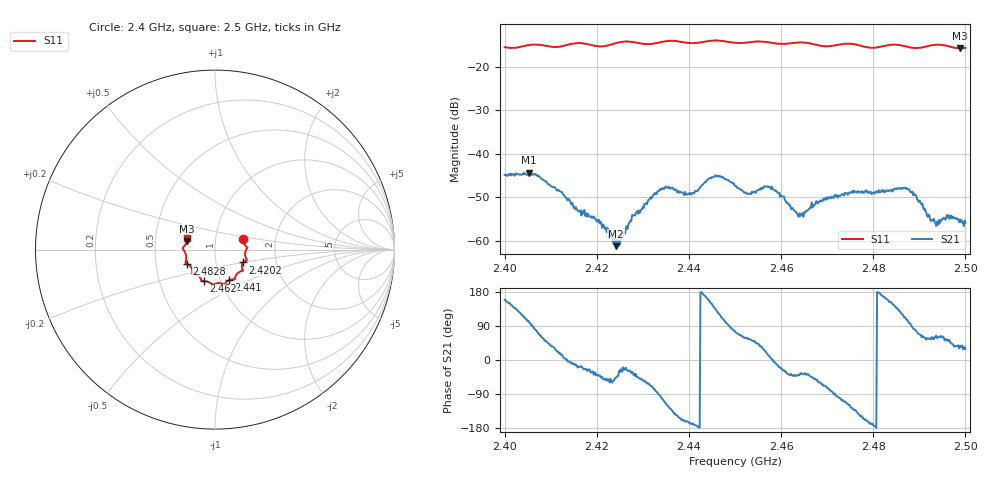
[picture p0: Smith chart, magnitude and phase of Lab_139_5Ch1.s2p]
# Hz S RI R 50
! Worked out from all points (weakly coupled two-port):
!   601 points, 2.4 GHz to 2.5 GHz, reference 50 ohm
!   highest |S21| = -44.31 dB at 2.4053 GHz (marker M1); lowest = -61.2 dB at 2.4242 GHz (marker M2)
!   lowest |S11| = -15.8 dB at 2.4988 GHz (marker M3), VSWR 1.39, Z = 36.4 + j3.43 ohm
!   |S11| at or under -10 dB: start of sweep to end of sweep
!   S12 and S22 are empty: the file has one direction only
!   S11 on the Smith chart (normalised r, x): 2.4 GHz: 1.36, +0.17; 2.4202 GHz: 1.35, -0.20; 2.441 GHz: 1.10, -0.39; 2.462 GHz: 0.83, -0.30; 2.4828 GHz: 0.72, -0.12; 2.5 GHz: 0.73, +0.09
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2.4e9  0.1568 0.0609  -0.00534 0.00206  0 0  0 0
2.405333e9  0.1776 0.0141  -0.00102 0.006  0 0  0 0
2.416667e9  0.1774 -0.0591  0.00187 -0.000549  0 0  0 0
2.420167e9  0.1567 -0.0718  0.00134 -0.00108  0 0  0 0
2.424167e9  0.1527 -0.1084  0.000589 -0.000636  0 0  0 0
2.428167e9  0.1503 -0.1187  0.0016 -0.00118  0 0  0 0
2.433333e9  0.1127 -0.1521  -1.4e-05 -0.00371  0 0  0 0
2.441e9  0.077 -0.1706  -0.00351 -0.000612  0 0  0 0
2.446e9  0.0512 -0.194  -0.00356 0.00424  0 0  0 0
2.45e9  0.0272 -0.1867  0.00111 0.00416  0 0  0 0
2.453e9  -0.000509 -0.1915  0.00198 0.00285  0 0  0 0
2.4575e9  -0.0219 -0.1893  0.00408 0.000694  0 0  0 0
2.462e9  -0.0616 -0.1759  0.00194 -0.00164  0 0  0 0
2.464333e9  -0.0737 -0.1758  0.00164 -0.00114  0 0  0 0
2.466667e9  -0.0773 -0.1673  0.00193 -0.00197  0 0  0 0
2.475333e9  -0.1263 -0.1336  -0.00213 -0.00287  0 0  0 0
2.482833e9  -0.158 -0.0776  -0.00352 0.00116  0 0  0 0
2.483333e9  -0.1609 -0.0763  -0.00339 0.00153  0 0  0 0
2.4875e9  -0.1605 -0.0543  -0.000956 0.00379  0 0  0 0
2.493667e9  -0.1796 0.00652  0.000639 0.00134  0 0  0 0
2.498833e9  -0.1562 0.0459  0.00146 0.000995  0 0  0 0
2.5e9  -0.1532 0.062  0.00142 0.000777  0 0  0 0
